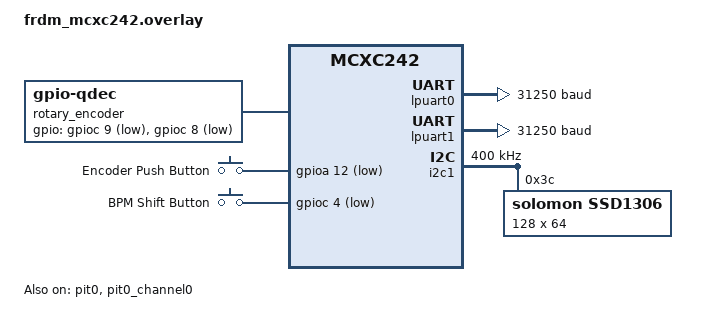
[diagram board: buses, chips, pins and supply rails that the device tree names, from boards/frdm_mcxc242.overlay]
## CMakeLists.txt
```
# SPDX-License-Identifier: Apache-2.0

cmake_minimum_required(VERSION 3.20.0)

find_package(Zephyr REQUIRED HINTS $ENV{ZEPHYR_BASE})
project(harmonic_midi_reactive)

target_sources(app PRIVATE src/main.c)
```

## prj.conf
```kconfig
# SPDX-License-Identifier: Apache-2.0

# MIDI 1.0 Arpeggiator Application
CONFIG_LOG=y
CONFIG_LOG_DEFAULT_LEVEL=1
CONFIG_BOOT_BANNER=y

# Driver support
CONFIG_SERIAL=y
CONFIG_UART_INTERRUPT_DRIVEN=y
CONFIG_MIDI1_SERIAL=y
CONFIG_MIDI1_CLOCK_CNTR=n
CONFIG_MIDI1_HARMONIC=y
CONFIG_COUNTER=n
CONFIG_INPUT=n
CONFIG_INPUT_GPIO_QDEC=n

# Require larger buffers for handling inputs and outputs concurrently
CONFIG_MIDI1_SERIAL_TX_BUF_SIZE=128

# Footprint settings
CONFIG_IDLE_STACK_SIZE=256
CONFIG_ISR_STACK_SIZE=1024
CONFIG_MAIN_STACK_SIZE=2048
CONFIG_SYSTEM_WORKQUEUE_STACK_SIZE=2048
```

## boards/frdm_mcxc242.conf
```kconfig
# SPDX-License-Identifier: Apache-2.0

# Display support for SSD1306 on MCXC242
CONFIG_I2C=y
CONFIG_DISPLAY=y
CONFIG_SSD1306=y
CONFIG_DISPLAY_LOG_LEVEL_OFF=y

# Enable Character Framebuffer (text rendering)
CONFIG_CHARACTER_FRAMEBUFFER=y
CONFIG_CHARACTER_FRAMEBUFFER_USE_DEFAULT_FONTS=y

# Memory pool for display allocation (fixes CFB k_malloc error)
CONFIG_HEAP_MEM_POOL_SIZE=1024

# --- Memory & Size Optimizations for MCXC242 (16KB RAM) ---
CONFIG_SIZE_OPTIMIZATIONS=y
CONFIG_SPI=n
CONFIG_PM=n
CONFIG_BOOT_BANNER=n

# Disable full logging and printk to save RAM buffers and flash
CONFIG_LOG=y
CONFIG_PRINTK=y

# Opt for minimal libc footprint
CONFIG_MINIMAL_LIBC=y

# Stack Size Reductions
CONFIG_ISR_STACK_SIZE=512
CONFIG_MAIN_STACK_SIZE=1024
CONFIG_SYSTEM_WORKQUEUE_STACK_SIZE=1024
```

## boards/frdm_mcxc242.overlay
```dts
/*
 * SPDX-License-Identifier: Apache-2.0
 */

/**
 * @file frdm_mcxc242.overlay
 * @brief Combined overlay for hybrid MIDI test on MCXC242
 * @note
 *
 * Using the MCXC242 the Arduino header J1 is used for lpuart0.
 *
 * @author Jan-Willem Smaal <usenet@gispen.org>
 * @date 20260102
 */

/ {
	/* Arduino header */
	midi0: midi0 {
		status = "okay";
		compatible = "midi1_serial";
		uart = <&lpuart0>;
	};

	/* MIKRObus */
	midi1: midi1 {
		status = "okay";
		compatible = "midi1_serial";
		uart = <&lpuart1>;
	};

	/*
	 * I am using the serial port on the MIKRObus so it does not interfere
	 * with logging on the console.
	 */
	midi1_clock_cntr_0: midi1_clock_cntr_0 {
		compatible = "midi1_clock_cntr";
		counter = <&pit0_channel0>;      /* Assign PIT0 to generate clock */
		midi1_serial = <&midi1>;   /* Link it to the UART TX */
		status = "okay";
	};

	chosen {
		zephyr,display = &ssd1306;
	};

	rotary_encoder: rotary-encoder {
		compatible = "gpio-qdec";
		/* Phase A on D6 (PTC9) */
		gpios = <&gpioc 9 (GPIO_ACTIVE_LOW | GPIO_PULL_UP)>,
			/* Phase B on D7 (PTC8) */
			<&gpioc 8 (GPIO_ACTIVE_LOW | GPIO_PULL_UP)>;
		steps-per-period = <4>;
		zephyr,axis = <INPUT_REL_WHEEL>;
		sample-time-us = <2000>;
		idle-timeout-ms = <200>;
		status = "okay";
	};

	encoder_button: encoder-button {
		compatible = "gpio-keys";
		button0: button_0 {
			/* Push Button on D2 (PTA12) */
			gpios = <&gpioa 12 (GPIO_ACTIVE_LOW | GPIO_PULL_UP)>;
			label = "Encoder Push Button";
			zephyr,code = <INPUT_KEY_2>;
		};

		button1: button_1 {
			/* Shift Button on D10 (PTC4) */
			gpios = <&gpioc 4 (GPIO_ACTIVE_LOW | GPIO_PULL_UP)>;
			label = "BPM Shift Button";
			zephyr,code = <INPUT_KEY_3>;
		};
	};
};

/* Arduino header */
&lpuart0 {
	status = "okay";
	current-speed = <31250>;
};

/* MIKRObus */
&lpuart1 {
	status = "okay";
	current-speed = <31250>;
};

/*
 * MIDI on a DIN5 plug is a current loop.
 * In my case I had to create a small driver PCB. Using a darlington in the
 * output and also using a opto-coupler for the input.
 */
&pinctrl {
	pinmux_lpuart0: pinmux_lpuart0 {
		group0 {
			/* Strongest drive + fast edges */
			drive-strength = "high";
			slew-rate = "fast";
		};
	};
	pinmux_lpuart1: pinmux_lpuart1 {
		group0 {
			/* Strongest drive + fast edges */
			drive-strength = "high";
			slew-rate = "fast";
		};
	};
};

&pit0 {
	status = "okay";
};

&pit0_channel0 {
	status = "okay";
};

/*
 * i2c0 does not work due to missing pin control.  i2c1 is the the Arduino
 * header
 */
&i2c1 {
	status = "okay";
	clock-frequency = <I2C_BITRATE_FAST>;

	ssd1306: ssd1306@3c {
		status = "okay";
		compatible = "solomon,ssd1306";
		reg = <0x3c>;
		label = "SSD1306";
		width = <128>;
		height = <64>;
		segment-offset = <0>;
		page-offset = <0>;
		display-offset = <0>;
		multiplex-ratio = <63>;
		/* Had to enable this to mirror the image */
		com-invdir;
		/* prechargep = <0x22>; */
		/* Used for the SH1106 */
		/* prechargep = <0x1F>; */
		/* Used for the SSD1306 */
		prechargep = <0xF1>;
		/* The next one was required to flip the image */
		segment-remap;
		inversion-on;
		/* Critical part on the SSD1306 don't make this too long */
		ready-time-ms = <100>;
	};
};
```

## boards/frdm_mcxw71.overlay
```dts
/ {
	midi_serial: midi1_serial {
		compatible = "midi1_serial";
		uart = <&lpuart0>;
		status = "okay";
	};
};

&lpuart0 {
	status = "okay";
	current-speed = <31250>;
};
```

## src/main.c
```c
/*
 * SPDX-License-Identifier: Apache-2.0
 */

/**
 * @file main.c
 * @author Jan-Willem Smaal <usenet@gispen.org>
 * @updated 20260429
 */

#include <zephyr/kernel.h>
#include <zephyr/device.h>
#include <zephyr/logging/log.h>
#include <zephyr/drivers/midi/midi1_serial.h>
#include <zephyr/midi1/harmonic.h>

LOG_MODULE_REGISTER(midi_reactive, LOG_LEVEL_INF);

#define MOD_WHEEL_CC     1
#define NOTES_PER_OCTAVE 12u

const struct device *midi_dev;
static uint8_t current_mod_wheel = 0;
static harm_mask_t current_mask = HARM_MASK_MAJOR;

/* Callback when a Note On is received */
static void midi_note_on_cb(uint8_t channel, uint8_t note, uint8_t velocity)
{
	LOG_INF("Note On: %d (vel %d), Wheel: %d", note, velocity, current_mod_wheel);

	/* Generate notes in the current mask starting from the root note */
	for (uint8_t i = 0; i < NOTES_PER_OCTAVE; i++) {
		if (current_mask & (1u << i)) {
			uint8_t output_note = note + i;
			if (output_note <= 127) {
				/* Send note back out */
				midi1_serial_note_on(midi_dev, channel, output_note, velocity);
			}
		}
	}
}

/* Callback when a Note Off is received */
static void midi_note_off_cb(uint8_t channel, uint8_t note, uint8_t velocity)
{
	/* Kill all notes in the mask for this root */
	for (uint8_t i = 0; i < NOTES_PER_OCTAVE; i++) {
		if (current_mask & (1u << i)) {
			uint8_t output_note = note + i;
			if (output_note <= 127) {
				midi1_serial_note_off(midi_dev, channel, output_note, velocity);
			}
		}
	}
}

/* Callback when a Control Change is received */
static void midi_cc_cb(uint8_t channel, uint8_t controller, uint8_t value)
{
	if (controller == MOD_WHEEL_CC) {
		current_mod_wheel = value;

		/* Switch harmonic mask based on Mod Wheel value
		 * Partitioned into ~8 units per mode (128 / 15 modes)
		 */
		if (value <= 8) {
			current_mask = HARM_MASK_MAJOR;
			LOG_INF("Mode: MAJOR SCALE");
		} else if (value <= 16) {
			current_mask = HARM_MASK_NATURAL_MINOR;
			LOG_INF("Mode: NATURAL MINOR SCALE");
		} else if (value <= 24) {
			current_mask = HARM_MASK_HARMONIC_MINOR;
			LOG_INF("Mode: HARMONIC MINOR SCALE");
		} else if (value <= 32) {
			current_mask = HARM_MASK_DORIAN;
			LOG_INF("Mode: DORIAN SCALE");
		} else if (value <= 40) {
			current_mask = HARM_MASK_PHRYGIAN;
			LOG_INF("Mode: PHRYGIAN SCALE");
		} else if (value <= 48) {
			current_mask = HARM_MASK_LYDIAN;
			LOG_INF("Mode: LYDIAN SCALE");
		} else if (value <= 56) {
			current_mask = HARM_MASK_MIXOLYDIAN;
			LOG_INF("Mode: MIXOLYDIAN SCALE");
		} else if (value <= 64) {
			current_mask = HARM_MASK_BLUES;
			LOG_INF("Mode: BLUES SCALE");
		} else if (value <= 72) {
			current_mask = HARM_MASK_MAJOR_7TH;
			LOG_INF("Mode: MAJOR 7TH CHORD");
		} else if (value <= 80) {
			current_mask = HARM_MASK_MINOR_7TH;
			LOG_INF("Mode: MINOR 7TH CHORD");
		} else if (value <= 88) {
			current_mask = HARM_MASK_DOMINANT_7TH;
			LOG_INF("Mode: DOMINANT 7TH CHORD");
		} else if (value <= 96) {
			current_mask = HARM_MASK_MINOR_MAJOR_7TH;
			LOG_INF("Mode: MINOR-MAJOR 7TH CHORD");
		} else if (value <= 104) {
			current_mask = HARM_MASK_DIMINISHED_7TH;
			LOG_INF("Mode: DIMINISHED 7TH CHORD");
		} else if (value <= 112) {
			current_mask = HARM_MASK_SUS4;
			LOG_INF("Mode: SUS4 CHORD");
		} else if (value <= 120) {
			current_mask = HARM_MASK_WHOLE_TONE;
			LOG_INF("Mode: WHOLE TONE SCALE");
		} else {
			current_mask = HARM_MASK_CHROMATIC;
			LOG_INF("Mode: CHROMATIC");
		}
	}
}
/* MIDI callback structure */
const struct midi1_serial_callbacks midi_cbs = {
	.note_on = midi_note_on_cb,
	.note_off = midi_note_off_cb,
	.control_change = midi_cc_cb,
};

int main(void)
{
	LOG_INF("MIDI Reactive Harmonic Sample Started");

	midi_dev = DEVICE_DT_GET(DT_NODELABEL(midi1));
	if (!device_is_ready(midi_dev)) {
		LOG_ERR("MIDI device not ready");
		return -ENODEV;
	}

	/* Register callbacks */
	midi1_serial_register_callbacks(midi_dev, (struct midi1_serial_callbacks *)&midi_cbs);

	while (1) {
		midi1_serial_receiveparser(midi_dev);
		k_yield();
	}

	return 0;
}
```
